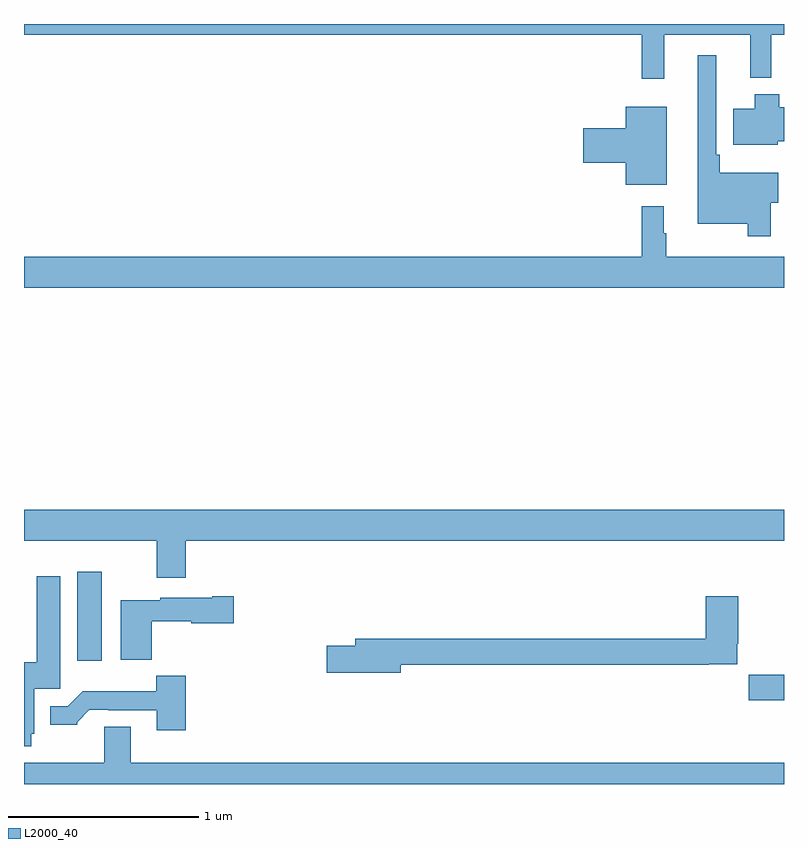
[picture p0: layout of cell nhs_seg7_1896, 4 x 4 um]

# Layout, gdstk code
import gdstk
lib = gdstk.Library(unit=1e-6, precision=1e-09)
def R(c, l, rs):  # rectangles x0, y0, x1, y1
    for r in rs: c.add(gdstk.rectangle(r[:2], r[2:], *l))
def P(c, l, *ps):  # polygons
    for p in ps: c.add(gdstk.Polygon(p, *l))
L2000_40 = (2000, 40)

nhs_seg7_1896 = lib.new_cell('nhs_seg7_1896')
R(nhs_seg7_1896, L2000_40, [(242.814,1002.442,243,1002.574), (239.279,1002.648,239.41,1003.117)])
P(nhs_seg7_1896, L2000_40, [(242.369,1005.944),(242.822,1005.944),(242.822,1005.716),(242.932,1005.716),(242.932,1005.944),(243,1005.944),(243,1006),(239,1006),(239,1005.944),(242.251,1005.944),(242.251,1005.711),(242.369,1005.711)],
  [(242.929,1005.059),(242.971,1005.059),(242.971,1005.217),(242.663,1005.217),(242.663,1005.313),(242.643,1005.313),(242.643,1005.835),(242.546,1005.835),(242.546,1004.948),(242.808,1004.948),(242.808,1004.883),(242.929,1004.883)],
  [(242.968,1005.383),(243,1005.383),(243,1005.561),(242.976,1005.561),(242.976,1005.631),(242.846,1005.631),(242.846,1005.553),(242.732,1005.553),(242.732,1005.365),(242.968,1005.365)],
  [(242.383,1005.565),(242.168,1005.565),(242.168,1005.452),(241.944,1005.452),(241.944,1005.269),(242.168,1005.269),(242.168,1005.155),(242.383,1005.155)],
  [(243,1004.776),(242.38,1004.776),(242.38,1004.9),(242.368,1004.9),(242.368,1005.04),(242.251,1005.04),(242.251,1004.776),(239,1004.776),(239,1004.612),(243,1004.612)],
  [(239.852,1003.28),(243,1003.28),(243,1003.444),(239,1003.444),(239,1003.28),(239.699,1003.28),(239.699,1003.086),(239.852,1003.086)],
  [(239.037,1002.264),(239.053,1002.264),(239.053,1002.501),(239.191,1002.501),(239.191,1003.093),(239.066,1003.093),(239.066,1002.64),(239,1002.64),(239,1002.198),(239.037,1002.198)],
  [(240.982,1002.628),(242.604,1002.628),(242.604,1002.63),(242.755,1002.63),(242.755,1002.739),(242.758,1002.739),(242.758,1002.988),(242.588,1002.988),(242.588,1002.764),(240.743,1002.764),(240.743,1002.728),(240.594,1002.728),(240.594,1002.586),(240.982,1002.586)],
  [(239.672,1002.857),(239.88,1002.857),(239.88,1002.845),(240.103,1002.845),(240.103,1002.987),(239.99,1002.987),(239.99,1002.979),(239.718,1002.979),(239.718,1002.967),(239.51,1002.967),(239.51,1002.653),(239.672,1002.653)],
  [(239.852,1002.571),(239.697,1002.571),(239.697,1002.487),(239.308,1002.487),(239.229,1002.408),(239.138,1002.408),(239.138,1002.311),(239.28,1002.311),(239.28,1002.326),(239.344,1002.39),(239.443,1002.39),(239.443,1002.387),(239.699,1002.387),(239.699,1002.282),(239.852,1002.282)],
  [(243,1002.112),(239.563,1002.112),(239.563,1002.302),(239.423,1002.302),(239.423,1002.112),(239,1002.112),(239,1002),(243,1002)])

lib.write_gds('nhs_seg7_1896.gds')
